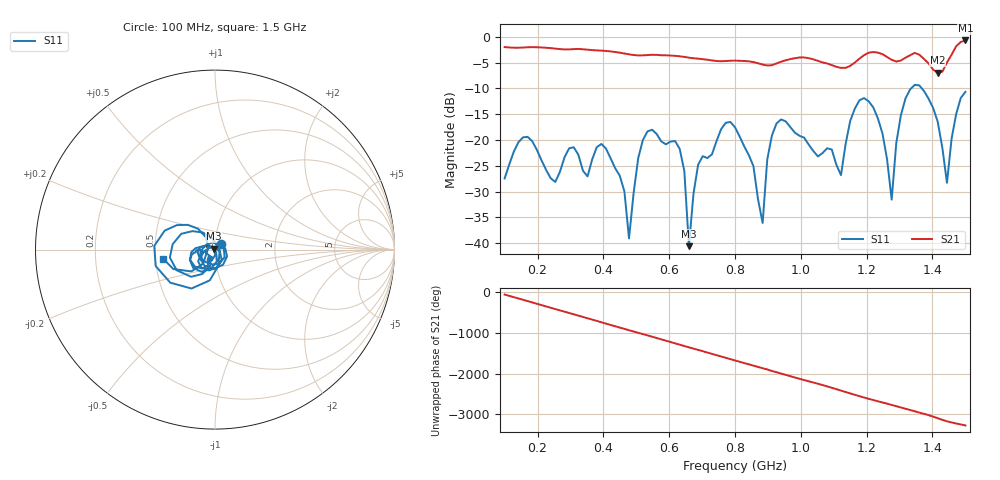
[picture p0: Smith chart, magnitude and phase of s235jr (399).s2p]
! NanoVNA-App
! Date: 2025-09-25 15:07:16
! Start: 100MHz Stop: 1,5GHz Points: 101
! S-Parameter data: F S11 S21 S12 S22
# Hz S RI R 50
!  Frequency  S11_Real  S11_Imag  S21_Real  S21_Imag  S12_Real  S12_Imag  S22_Real  S22_Imag
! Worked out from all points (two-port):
!   101 points, 100 MHz to 1.5 GHz, reference 50 ohm
!   highest |S21| = -0.68 dB at 1.5 GHz (marker M1); lowest = -6.9 dB at 1.416 GHz (marker M2)
!   |S21| within 3 dB of the highest: start of sweep to 620.5 MHz; 1.189 GHz to 1.257 GHz (67.68 MHz wide, 5.53 % of centre) (the widest 2 of 4)
!   lowest |S11| = -40.6 dB at 660 MHz (marker M3), VSWR 1.02, Z = 49.3 + j0.558 ohm
!   |S11| at or under -10 dB: start of sweep to 1.335 GHz; 1.368 GHz to end of sweep
!   S12 and S22 are empty: the file has one direction only
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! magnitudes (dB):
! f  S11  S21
! 100 MHz  -27.5  -2.0
! 170 MHz  -19.4  -2.0
! 338 MHz  -26.0  -2.4
! 408 MHz  -21.7  -2.7
! 478 MHz  -39.1  -3.4
! 520 MHz  -20.0  -3.6
! 576 MHz  -20.3  -3.5
! 632 MHz  -21.7  -3.7
! 660 MHz  -40.6  -4.0
! 688 MHz  -24.8  -4.2
! 800 MHz  -17.5  -4.6
! 884 MHz  -36.1  -5.4
! 926 MHz  -16.8  -5.1
! 1.038 GHz  -22.1  -4.3
! 1.122 GHz  -26.8  -6.0
! 1.192 GHz  -11.9  -3.5
! 1.248 GHz  -18.7  -3.3
! 1.276 GHz  -31.6  -4.4
! 1.332 GHz  -10.2  -3.6
! 1.416 GHz  -16.5  -6.9
! 1.444 GHz  -28.3  -5.0
! 1.5 GHz  -10.7  -0.7
